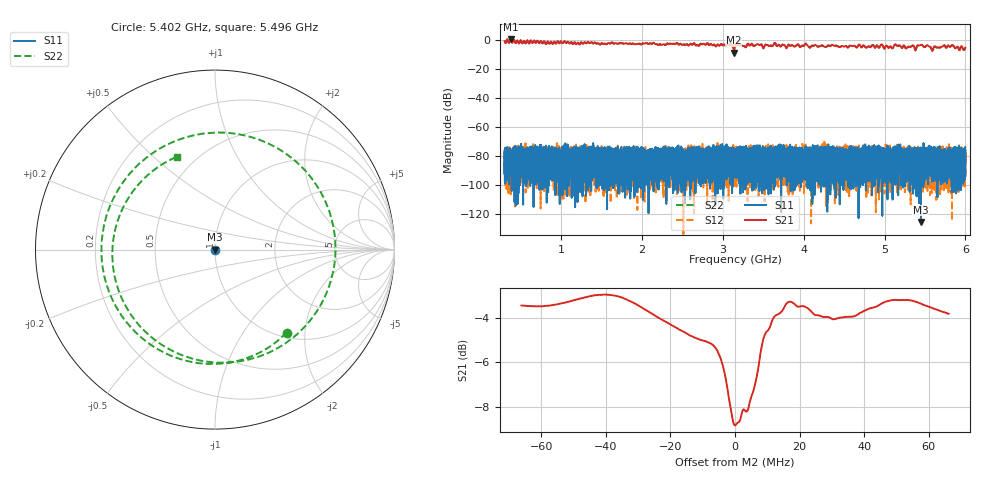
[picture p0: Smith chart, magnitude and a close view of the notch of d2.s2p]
!Agilent Technologies,N5230C,SG49000117,A.08.50.07
!Agilent N5230C: A.08.50.07
!Date: Monday, March 18, 2024 19:12:17
!Correction: S11(Off)
!S21(Off)
!S12(Off)
!S22(Off)
!S2P File: Measurements: S11, S21, S12, S22:
# Hz S  RI  R 50
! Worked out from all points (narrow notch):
!   20001 points, 300 MHz to 6 GHz, reference 50 ohm
!   highest |S21| = 0.46 dB at 374.1 MHz (marker M1); lowest = -8.8 dB at 3.135 GHz (marker M2)
!   notch at M2: 5.3 dB deep, 11 MHz wide at half that depth
!   lowest |S11| = -125.6 dB at 5.45 GHz (marker M3), VSWR 1.00, Z = 50 + j5.1e-05 ohm
!   |S11| at or under -10 dB: start of sweep to end of sweep
!   |S22| runs from -8.8 to 0.5 dB; largest |S21 - S12| = 1.1
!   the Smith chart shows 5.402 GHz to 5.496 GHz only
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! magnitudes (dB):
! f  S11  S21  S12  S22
! 300 MHz  -78.4  -0.9  -84.7  -0.9
! 374.1 MHz  -78.2  0.5  -78.7  0.5
! 1.25 GHz  -79.1  -1.7  -86.1  -1.7
! 2.2 GHz  -80.2  -3.7  -82.4  -3.6
! 3.08 GHz  -83.6  -3.4  -85.6  -3.4
! 3.135 GHz  -75.7  -8.8  -82.7  -8.8
! 3.15 GHz  -77.5  -3.7  -74.4  -3.7
! 3.175 GHz  -75.5  -3.7  -87.8  -3.7
! 3.267 GHz  -78.5  -4.4  -80.7  -4.4
! 3.333 GHz  -80.3  -4.1  -77.3  -4.0
! 3.78 GHz  -79.7  -5.5  -93.5  -5.4
! 4.028 GHz  -80.5  -2.7  -82.9  -2.6
! 4.1 GHz  -84.7  -4.1  -81.7  -4.0
! 5.05 GHz  -86.1  -5.6  -80.0  -5.5
! 5.148 GHz  -92.3  -3.8  -80.5  -3.7
! 5.385 GHz  -78.3  -7.1  -83.1  -7.1
! 5.45 GHz  -125.6  -3.5  -80.6  -3.5
! 5.543 GHz  -83.4  -4.3  -80.3  -4.3
! 5.581 GHz  -84.1  -6.5  -91.3  -6.5
! 5.833 GHz  -87.0  -3.7  -85.3  -3.7
! 5.967 GHz  -79.1  -5.7  -82.1  -5.8
! 6 GHz  -76.6  -5.5  -78.9  -5.5
